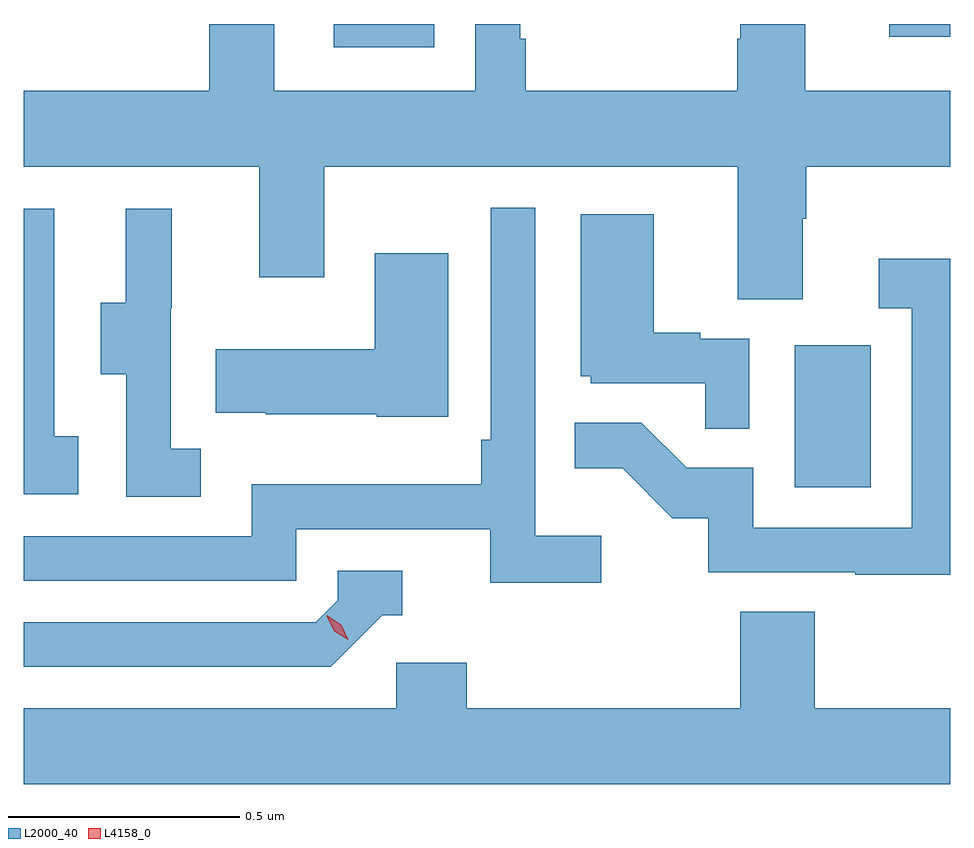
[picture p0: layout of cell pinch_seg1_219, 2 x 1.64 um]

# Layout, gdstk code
import gdstk
lib = gdstk.Library(unit=1e-6, precision=1e-09)
def R(c, l, rs):  # rectangles x0, y0, x1, y1
    for r in rs: c.add(gdstk.rectangle(r[:2], r[2:], *l))
def P(c, l, *ps):  # polygons
    for p in ps: c.add(gdstk.Polygon(p, *l))
L2000_40 = (2000, 40)
L4158_0 = (4158, 0)

pinch_seg1_219 = lib.new_cell('pinch_seg1_219')
R(pinch_seg1_219, L2000_40, [(986.54,576.348,986.704,576.655), (985.545,577.298,985.762,577.348), (986.744,577.32,986.876,577.348)])
P(pinch_seg1_219, L2000_40, [(986.557,576.928),(986.565,576.928),(986.565,577.04),(986.876,577.04),(986.876,577.204),(986.563,577.204),(986.563,577.348),(986.423,577.348),(986.423,577.316),(986.416,577.316),(986.416,577.204),(985.96,577.204),(985.96,577.316),(985.948,577.316),(985.948,577.348),(985.851,577.348),(985.851,577.204),(985.417,577.204),(985.417,577.348),(985.277,577.348),(985.277,577.204),(984.876,577.204),(984.876,577.04),(985.385,577.04),(985.385,576.801),(985.525,576.801),(985.525,577.04),(986.417,577.04),(986.417,576.754),(986.557,576.754)],
  [(986.122,576.244),(985.98,576.244),(985.98,576.952),(985.884,576.952),(985.884,576.451),(985.864,576.451),(985.864,576.355),(985.368,576.355),(985.368,576.243),(984.876,576.243),(984.876,576.147),(985.464,576.147),(985.464,576.258),(985.883,576.258),(985.883,576.142),(986.122,576.142)],
  [(984.994,576.458),(984.942,576.458),(984.942,576.949),(984.876,576.949),(984.876,576.333),(984.994,576.333)],
  [(985.258,576.431),(985.194,576.431),(985.194,576.735),(985.196,576.735),(985.196,576.949),(985.097,576.949),(985.097,576.747),(985.043,576.747),(985.043,576.592),(985.098,576.592),(985.098,576.328),(985.258,576.328)],
  [(986.442,576.669),(986.336,576.669),(986.336,576.682),(986.236,576.682),(986.236,576.937),(986.078,576.937),(986.078,576.588),(986.1,576.588),(986.1,576.573),(986.347,576.573),(986.347,576.475),(986.442,576.475)],
  [(985.792,576.853),(985.634,576.853),(985.634,576.646),(985.291,576.646),(985.291,576.509),(985.399,576.509),(985.399,576.506),(985.638,576.506),(985.638,576.5),(985.792,576.5)],
  [(986.876,576.841),(986.721,576.841),(986.721,576.735),(986.793,576.735),(986.793,576.261),(986.451,576.261),(986.451,576.39),(986.307,576.39),(986.209,576.488),(986.065,576.488),(986.065,576.389),(986.169,576.389),(986.276,576.282),(986.353,576.282),(986.353,576.165),(986.671,576.165),(986.671,576.16),(986.876,576.16)],
  [(985.65,576.072),(985.693,576.072),(985.693,576.168),(985.554,576.168),(985.554,576.105),(985.506,576.057),(984.876,576.057),(984.876,575.961),(985.539,575.961)],
  [(986.876,575.872),(986.583,575.872),(986.583,576.08),(986.423,576.08),(986.423,575.872),(985.832,575.872),(985.832,575.97),(985.68,575.97),(985.68,575.872),(984.876,575.872),(984.876,575.708),(986.876,575.708)])
P(pinch_seg1_219, L4158_0, [(985.577,576.019),(985.546,576.038),(985.53,576.071),(985.53,576.072),(985.53,576.072),(985.561,576.052),(985.577,576.019),(985.577,576.019)])

lib.write_gds('pinch_seg1_219.gds')
